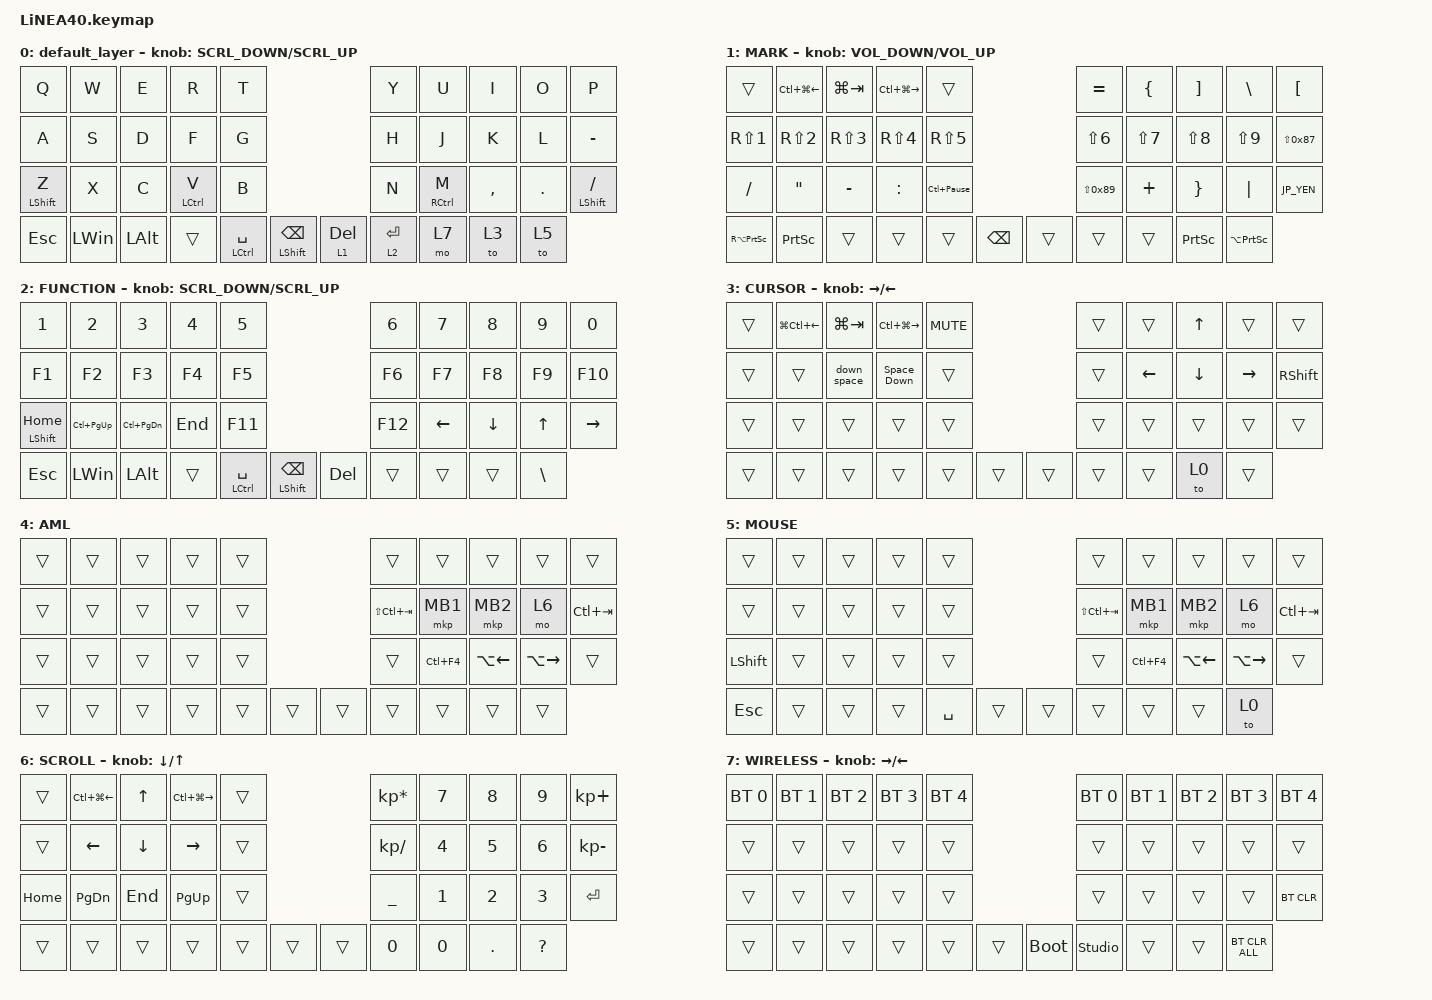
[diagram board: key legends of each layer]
#define ZMK_POINTING_DEFAULT_SCRL_VAL 150

#include <dt-bindings/zmk/input_transform.h>
#include <input/processors.dtsi>
#include <zephyr/dt-bindings/input/input-event-codes.h>
#include <behaviors.dtsi>
#include <dt-bindings/zmk/bt.h>
#include <dt-bindings/zmk/keys.h>
#include <dt-bindings/zmk/pointing.h>

// レイヤー定義
#define MARK 1
#define FUNCTION 2
#define CURSOR 3
#define AML 4
#define MOUSE 5
#define SCROLL 6
#define WIRELESS 7

// 日本語キー定義
#define JP_YEN          0x89              // ¥
#define JP_PIPE         LS(0x89)          // |
#define JP_UNDERSCORE   LS(0x87)          // _

//mouse cursoll
&mmv {
    delay-ms = <20>;
    trigger-period-ms = <5>;
    time-to-max-speed-ms = <100>;
    acceleration-exponent = <2>;
};

//mouse scroll
&msc {
    delay-ms = <3>;
    trigger-period-ms = <3>;
    time-to-max-speed-ms = <100>;
    acceleration-exponent = <0>;
};

/ {
    input_processors {
        zip_wheel_scaler: zip_wheel_scaler {
            compatible = "zmk,input-processor-scaler";
            #input-processor-cells = <2>;
            type = <INPUT_EV_REL>;
            codes = <INPUT_REL_WHEEL>;
            track-remainders;
        };
    };
};

&msc_input_listener {
    speed_up {
        layers = <FUNCTION>;
        input-processors = <&zip_wheel_scaler 3 1>; //スクロールを3倍速にする
    };
};

&trackball_listener {
    scroller {
        layers = <SCROLL>;
        input-processors =
            <&zip_xy_transform INPUT_TRANSFORM_Y_INVERT>,
            <&zip_xy_to_scroll_mapper>,
            <&zip_wheel_scaler 1 4>; //スクロールを1/4倍速にする
    };
};

//input key
&mkp_input_listener { input-processors = <&zip_temp_layer 4 300>; };

/ {
    combos {
        compatible = "zmk,combos";

        Colon {
            bindings = <&kp SINGLE_QUOTE>;
            key-positions = <6 7>;
        };

        Semicolon {
            bindings = <&kp SEMICOLON>;
            key-positions = <7 8>;
        };

        Tab {
            bindings = <&kp TAB>;
            key-positions = <11 12>;
        };

        HankakuZenkaku {
            bindings = <&kp CAPSLOCK>;
            key-positions = <12 13>;
        };

        pipe {
            bindings = <&kp JP_PIPE>;
            key-positions = <16 17>;
        };

        Equal {
            bindings = <&kp LS(MINUS)>;
            key-positions = <17 18>;
        };

        Underscore {
            bindings = <&kp JP_UNDERSCORE>;
            key-positions = <18 19>;
        };

        Namisen {
            bindings = <&kp PLUS>;
            key-positions = <27 28>;
        };
    };

    behaviors {
        tog_off: toggle_layer_off {
            compatible = "zmk,behavior-toggle-layer";
            #binding-cells = <1>;
            display-name = "Toggle Layer Off";
            toggle-mode = "off";
        };

        hmr_sum_ctrl: hmr_sum_ctrl {
            compatible = "zmk,behavior-hold-tap";
            label = "hmr_sum_ctrl";
            bindings = <&kp>, <&kp_exit_AML>;

            #binding-cells = <2>;
            tapping-term-ms = <1000>;
            flavor = "hold-preferred";
            //hold-trigger-key-positions = <0 1 2 3 4 5 6 7 8 9 10 11 12 13 14 15 16 17 18 19 20 21 22 23 24 25 26 27 28 29 30 31 32 33 34 35 36 37 38 39 40>;
            //hold-trigger-on-release;
        };

        hmr_sum_shift: hmr_sum_shift {
            compatible = "zmk,behavior-hold-tap";
            label = "hmr_sum_shift";
            bindings = <&kp>, <&kp_exit_AML>;

            #binding-cells = <2>;
            tapping-term-ms = <1000>;
            flavor = "hold-preferred";
            //hold-trigger-key-positions = <0 1 2 3 4 5 6 7 8 9 10 11 12 13 14 15 16 17 18 19 20 21 22 23 24 25 26 27 28 29 30 31 32 33 34 35 36 37 38 39 40>;
            //hold-trigger-on-release;
        };

        hmr_l_ctrl: hmr_l_ctrl {
            compatible = "zmk,behavior-hold-tap";
            label = "hmr_l_ctrl";
            bindings = <&kp>, <&kp_exit_AML>;

            #binding-cells = <2>;
            tapping-term-ms = <200>;
            flavor = "tap-preferred";
            //hold-trigger-key-positions = <5 6 7 8 9 15 16 17 18 19 25 26 27 28 29 36 37 38 39 40>;
            //hold-trigger-on-release;
            //require-prior-idle-ms = <100>;
        };

        hmr_l_shift: hmr_l_shift {
            compatible = "zmk,behavior-hold-tap";
            label = "hmr_l_shift";
            bindings = <&kp>, <&kp_exit_AML>;

            #binding-cells = <2>;
            tapping-term-ms = <200>;
            flavor = "tap-preferred";
            //hold-trigger-key-positions = <0 1 2 3 4 5 6 7 8 9 10 11 12 13 14 15 16 17 18 19 20 21 22 23 24 25 26 27 28 29 30 31 32 33 34 35 36 37 38 39 40>;
            //hold-trigger-on-release;
            //require-prior-idle-ms = <100>;
            //hold-while-undecided;
        };

        hmr_r_ctrl: hmr_r_ctrl {
            compatible = "zmk,behavior-hold-tap";
            label = "hmr_r_ctrl";
            bindings = <&kp>, <&kp_exit_AML>;

            #binding-cells = <2>;
            tapping-term-ms = <200>;
            flavor = "tap-preferred";
            //hold-trigger-key-positions = <0 1 2 3 4 10 11 12 13 14 20 21 22 23 24 30 31 32 33 34 35>;
            //hold-trigger-on-release;
            //require-prior-idle-ms = <100>;
        };

        hmr_r_shift: hmr_r_shift {
            compatible = "zmk,behavior-hold-tap";
            label = "hmr_r_shift";
            bindings = <&kp>, <&kp_exit_AML>;

            #binding-cells = <2>;
            tapping-term-ms = <200>;
            flavor = "tap-preferred";
            //hold-trigger-key-positions = <0 1 2 3 4 5 6 7 8 9 10 11 12 13 14 15 16 17 18 19 20 21 22 23 24 25 26 27 28 29 30 31 32 33 34 35 36 37 38 39 40>;
            //hold-trigger-on-release;
            //require-prior-idle-ms = <100>;
            //hold-while-undecided;
        };

        re_kp: sensor_rotate_kp {
            compatible = "zmk,behavior-sensor-rotate-var";
            #sensor-binding-cells = <2>;
            bindings = <&kp>, <&kp>;
        };

        mouse_scrl: mouse_wheel_scrl {
            compatible = "zmk,behavior-sensor-rotate-var";
            #sensor-binding-cells = <2>;
            bindings = <&msc>, <&msc>;

            tap-ms = <20>;
        };
    };

    macros {
        Space_Down: Shift_Down {
            compatible = "zmk,behavior-macro";
            #binding-cells = <0>;
            bindings = <&kp SPACE &kp DOWN_ARROW>;
            label = "SHIFT_DOWN";
        };

        down_space: down_space {
            compatible = "zmk,behavior-macro";
            #binding-cells = <0>;
            bindings = <&kp DOWN_ARROW &kp SPACE>;
            label = "DOWN_SPACE";
        };

        exit_AML: exit_AML {
            compatible = "zmk,behavior-macro";
            wait-ms = <0>;
            tap-ms = <0>;
            #binding-cells = <0>;
            bindings = <&tog_off AML>;
            label = "exit_AML";
        };

        kp_exit_AML: kp_exit_AML {
            compatible = "zmk,behavior-macro-one-param";
            wait-ms = <0>;
            tap-ms = <0>;
            #binding-cells = <1>;
            bindings = <&macro_param_1to1 &kp MACRO_PLACEHOLDER &exit_AML>;
            label = "KP_exit_AML";
        };
    };

    keymap {
        compatible = "zmk,keymap";

        default_layer {
            bindings = <
&kp Q                      &kp W         &kp E         &kp R                &kp T                                                                                  &kp Y        &kp U                &kp I      &kp O    &kp P
&kp A                      &kp S         &kp D         &kp F                &kp G                                                                                  &kp H        &kp J                &kp K      &kp L    &kp MINUS
&hmr_l_shift LEFT_SHIFT Z  &kp X         &kp C         &hmr_l_ctrl LCTRL V  &kp B                                                                                  &kp N        &hmr_r_ctrl RCTRL M  &kp COMMA  &kp DOT  &hmr_r_shift LEFT_SHIFT SLASH
&kp ESC                    &kp LEFT_WIN  &kp LEFT_ALT  &trans               &hmr_sum_ctrl LEFT_CONTROL SPACE  &hmr_sum_shift LEFT_SHIFT BACKSPACE    &lt 1 DELETE  &lt 2 ENTER                       &mo 7      &to 3    &to 5
            >;

            sensor-bindings = <&mouse_scrl SCRL_DOWN SCRL_UP>;
        };

        //1

        MARK {
            bindings = <
&trans               &kp LC(LG(LEFT_ARROW))  &kp LG(TAB)  &kp LC(LG(RIGHT_ARROW))  &trans                                        &kp EQUAL    &kp LEFT_BRACE  &kp RIGHT_BRACKET  &kp BACKSLASH    &kp LEFT_BRACKET
&kp RS(N1)           &kp RS(N2)              &kp RS(N3)   &kp RS(N4)               &kp RS(N5)                                    &kp LS(N6)   &kp LS(N7)      &kp LS(N8)         &kp LS(N9)       &kp JP_UNDERSCORE
&kp SLASH            &kp DOUBLE_QUOTES       &kp MINUS    &kp COLON                &kp LC(PAUSE_BREAK)                           &kp JP_PIPE  &kp PLUS        &kp RIGHT_BRACE    &kp PIPE         &kp JP_YEN
&kp RA(PRINTSCREEN)  &kp PRINTSCREEN         &trans       &trans                   &trans               &kp BACKSPACE    &trans  &trans                       &trans             &kp PRINTSCREEN  &kp LA(PRINTSCREEN)
            >;

            sensor-bindings = <&re_kp C_VOLUME_DOWN C_VOLUME_UP>;
        };

        //2

        FUNCTION {
            bindings = <
&kp NUMBER_1                  &kp NUMBER_2     &kp NUMBER_3       &kp NUMBER_4  &kp NUMBER_5                                                                         &kp NUMBER_6  &kp NUMBER_7    &kp NUMBER_8    &kp NUMBER_9  &kp NUMBER_0
&kp F1                        &kp F2           &kp F3             &kp F4        &kp F5                                                                               &kp F6        &kp F7          &kp F8          &kp F9        &kp F10
&hmr_l_shift LEFT_SHIFT HOME  &kp LC(PAGE_UP)  &kp LC(PAGE_DOWN)  &kp END       &kp F11                                                                              &kp F12       &kp LEFT_ARROW  &kp DOWN_ARROW  &kp UP_ARROW  &kp RIGHT_ARROW
&kp ESC                       &kp LEFT_WIN     &kp LEFT_ALT       &trans        &hmr_sum_ctrl LEFT_CONTROL SPACE  &hmr_sum_shift LEFT_SHIFT BACKSPACE    &kp DELETE  &trans                        &trans          &trans        &kp BACKSLASH
            >;

            sensor-bindings = <&mouse_scrl SCRL_DOWN SCRL_UP>;
        };

        //3

        CURSOR {
            bindings = <
&trans  &kp LG(LC(LEFT_ARROW))  &kp LG(TAB)  &kp LC(LG(RIGHT_ARROW))  &kp K_MUTE                    &trans  &trans          &kp UP_ARROW    &trans           &trans
&trans  &trans                  &down_space  &Space_Down              &trans                        &trans  &kp LEFT_ARROW  &kp DOWN_ARROW  &kp RIGHT_ARROW  &kp RIGHT_SHIFT
&trans  &trans                  &trans       &trans                   &trans                        &trans  &trans          &trans          &trans           &trans
&trans  &trans                  &trans       &trans                   &trans      &trans    &trans  &trans                  &trans          &to 0            &trans
            >;

            sensor-bindings = <&inc_dec_kp RIGHT_ARROW LEFT_ARROW>;
        };

        //4

        AML {
            bindings = <
&trans  &trans  &trans  &trans  &trans                    &trans           &trans      &trans              &trans               &trans
&trans  &trans  &trans  &trans  &trans                    &kp LS(LC(TAB))  &mkp MB1    &mkp MB2            &mo 6                &kp LC(TAB)
&trans  &trans  &trans  &trans  &trans                    &trans           &kp LC(F4)  &kp LA(LEFT_ARROW)  &kp LA(RIGHT_ARROW)  &trans
&trans  &trans  &trans  &trans  &trans  &trans    &trans  &trans                       &trans              &trans               &trans
            >;
        };

        //5

        MOUSE {
            bindings = <
&trans          &trans  &trans  &trans  &trans                       &trans           &trans      &trans              &trans               &trans
&trans          &trans  &trans  &trans  &trans                       &kp LS(LC(TAB))  &mkp MB1    &mkp MB2            &mo 6                &kp LC(TAB)
&kp LEFT_SHIFT  &trans  &trans  &trans  &trans                       &trans           &kp LC(F4)  &kp LA(LEFT_ARROW)  &kp LA(RIGHT_ARROW)  &trans
&kp ESC         &trans  &trans  &trans  &kp SPACE  &trans    &trans  &trans                       &trans              &trans               &to 0
            >;
        };

        //6

        SCROLL {
            bindings = <
&trans    &kp LC(LG(LEFT_ARROW))  &kp UP_ARROW  &kp LC(LG(RIGHT_ARROW))  &trans                    &kp KP_MULTIPLY  &kp NUMBER_7  &kp NUMBER_8  &kp NUMBER_9  &kp KP_PLUS
&trans    &kp LEFT_ARROW          &kp DOWN      &kp RIGHT_ARROW          &trans                    &kp KP_SLASH     &kp NUMBER_4  &kp NUMBER_5  &kp NUMBER_6  &kp KP_MINUS
&kp HOME  &kp PAGE_DOWN           &kp END       &kp PAGE_UP              &trans                    &kp UNDER        &kp NUMBER_1  &kp NUMBER_2  &kp NUMBER_3  &kp ENTER
&trans    &trans                  &trans        &trans                   &trans  &trans    &trans  &kp NUMBER_0                   &kp NUMBER_0  &kp DOT       &kp QUESTION
            >;

            sensor-bindings = <&inc_dec_kp DOWN_ARROW UP_ARROW>;
        };

        //7

        WIRELESS {
            bindings = <
&bt BT_SEL 0  &bt BT_SEL 1  &bt BT_SEL 2  &bt BT_SEL 3  &bt BT_SEL 4                         &bt BT_SEL 0    &bt BT_SEL 1  &bt BT_SEL 2  &bt BT_SEL 3  &bt BT_SEL 4
&trans        &trans        &trans        &trans        &trans                               &trans          &trans        &trans        &trans        &trans
&trans        &trans        &trans        &trans        &trans                               &trans          &trans        &trans        &trans        &bt BT_CLR
&trans        &trans        &trans        &trans        &trans        &trans    &bootloader  &studio_unlock                &trans        &trans        &bt BT_CLR_ALL
            >;

            sensor-bindings = <&inc_dec_kp RIGHT_ARROW LEFT_ARROW>;
        };
    };
};
